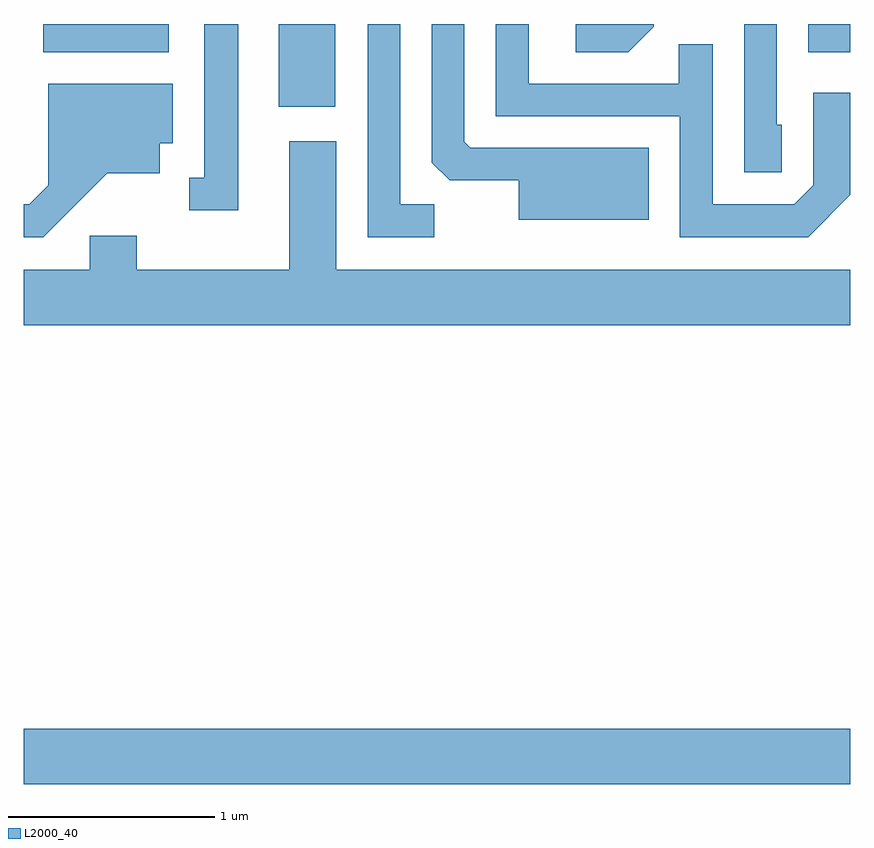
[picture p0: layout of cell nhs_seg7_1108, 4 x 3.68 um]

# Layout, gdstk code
import gdstk
lib = gdstk.Library(unit=1e-6, precision=1e-09)
def R(c, l, rs):  # rectangles x0, y0, x1, y1
    for r in rs: c.add(gdstk.rectangle(r[:2], r[2:], *l))
def P(c, l, *ps):  # polygons
    for p in ps: c.add(gdstk.Polygon(p, *l))
L2000_40 = (2000, 40)

nhs_seg7_1108 = lib.new_cell('nhs_seg7_1108')
R(nhs_seg7_1108, L2000_40, [(219.611,1676.576,223.611,1676.844), (220.846,1679.851,221.119,1680.252), (219.706,1680.116,220.314,1680.252), (223.406,1680.116,223.611,1680.252)])
P(nhs_seg7_1108, L2000_40, [(223.279,1679.764),(223.254,1679.764),(223.254,1680.252),(223.096,1680.252),(223.096,1679.536),(223.279,1679.536)],
  [(222.659,1680.239),(222.659,1680.252),(222.281,1680.252),(222.281,1680.116),(222.537,1680.116)],
  [(223.611,1679.425),(223.611,1679.919),(223.431,1679.919),(223.431,1679.472),(223.339,1679.379),(222.944,1679.379),(222.944,1680.153),(222.781,1680.153),(222.781,1679.964),(222.054,1679.964),(222.054,1680.252),(221.896,1680.252),(221.896,1679.806),(222.786,1679.806),(222.786,1679.221),(223.407,1679.221)],
  [(222.634,1679.654),(221.772,1679.654),(221.744,1679.682),(221.744,1680.252),(221.586,1680.252),(221.586,1679.582),(221.672,1679.496),(222.006,1679.496),(222.006,1679.306),(222.634,1679.306)],
  [(221.598,1679.379),(221.434,1679.379),(221.434,1680.252),(221.276,1680.252),(221.276,1679.221),(221.598,1679.221)],
  [(220.649,1680.252),(220.486,1680.252),(220.486,1679.509),(220.413,1679.509),(220.413,1679.351),(220.649,1679.351)],
  [(220.017,1679.531),(220.269,1679.531),(220.269,1679.676),(220.334,1679.676),(220.334,1679.964),(219.731,1679.964),(219.731,1679.472),(219.639,1679.379),(219.611,1679.379),(219.611,1679.221),(219.707,1679.221)],
  [(223.611,1679.064),(221.124,1679.064),(221.124,1679.684),(220.896,1679.684),(220.896,1679.064),(220.159,1679.064),(220.159,1679.229),(219.931,1679.229),(219.931,1679.064),(219.611,1679.064),(219.611,1678.796),(223.611,1678.796)])

lib.write_gds('nhs_seg7_1108.gds')
